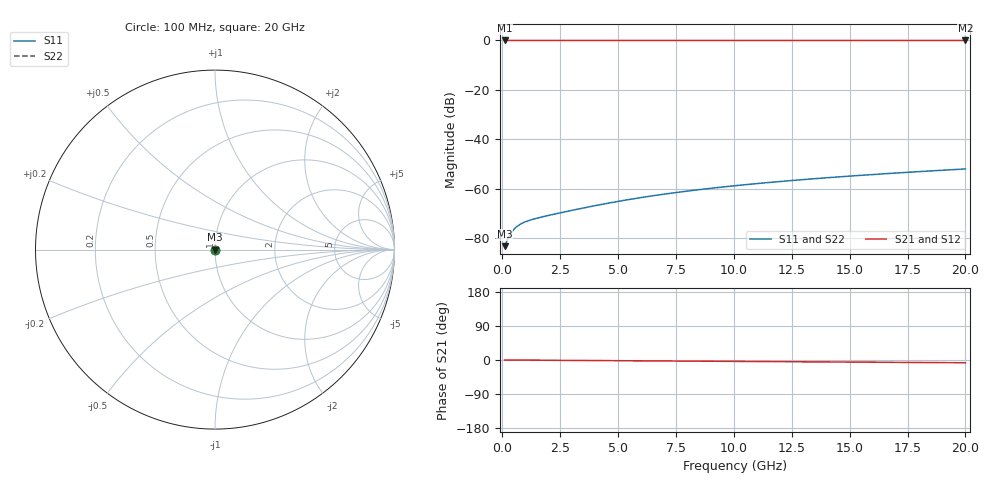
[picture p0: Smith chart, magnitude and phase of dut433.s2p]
! Touchstone file exported from HFSS 2026.1.0
!  File:  C:/ffzhzh/LocalFiles/Ansys_Project_Files/temp_train_TSV_433_1783021227_55676.aedt
!  Generated:  03:41:59 AM Jul  3, 2026
!  Design:  TSV
!  Project:  temp_train_TSV_433_1783021227_55676
! Variables:
!  h_bsmrdl = 2um
!  h_ox = 20um
!  h_rdl = 5um
!  h_sub = 69.21um
!  h_tmrdl = 5um
!  h_tsv = 69.21um
!  h_via = 3um
!  l_bsmrdl = 300um
!  l_sub = 429.56um
!  l_tmrdl = 200um
!  m_sub = 200um
!  pitch = 57.31um
!  r_tsv = 14.78um
!  s_tmrdl = 10um
!  w_bsmrdl = 18um
!  w_sub = 500um
!  w_tmrdl = 12um
!  x_tsv_center1 = 206um
!  x_tsv_center2 = 524um
!  x_tsv_center3 = 736um
!  x_tsv_center4 = 1054um
!  x_tsv_center5 = 1266um
!  x_tsv_center6 = 1584um
# GHz S MA R 50.000000
! Terminal data exported
! Port[1] = TSV1_1_T1
! Port[2] = TSV1_1_T2
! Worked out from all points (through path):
!   200 points, 100 MHz to 20 GHz, reference 50 ohm
!   highest |S21| = 0.00 dB at 100 MHz (marker M1); lowest = 0.0 dB at 20 GHz (marker M2)
!   group delay of S21, straight-line fit = 1.01 ps
!   lowest |S11| = -83.2 dB at 100 MHz (marker M3), VSWR 1.00, Z = 50 + j0.00237 ohm
!   |S11| at or under -10 dB: start of sweep to end of sweep
!   |S22| runs from -83.2 to -51.9 dB; largest |S21 - S12| = 2.1e-15
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0.1  6.942e-05 19.9  0.9999 -0.0  0.9999 -0.0  6.942e-05 19.9
! Gamma 0 0 0 0
! Port Impedance 50 0 50 0
0.2  8.868e-05 29.9  0.9999 -0.1  0.9999 -0.1  8.868e-05 29.9
0.3  0.000111 32.3  0.9999 -0.1  0.9999 -0.1  0.000111 32.3
0.4  0.0001325 31.1  0.9999 -0.2  0.9999 -0.2  0.0001325 31.1
0.5  0.0001518 28.4  0.9999 -0.2  0.9999 -0.2  0.0001518 28.4
0.6  0.0001686 25.0  0.9998 -0.2  0.9998 -0.2  0.0001686 25.1
0.7  0.0001831 21.5  0.9998 -0.3  0.9998 -0.3  0.0001831 21.5
0.8  0.0001956 18.1  0.9998 -0.3  0.9998 -0.3  0.0001956 18.1
1  0.0002164 11.6  0.9998 -0.4  0.9998 -0.4  0.0002164 11.6
1.3  0.0002413 3.3  0.9998 -0.5  0.9998 -0.5  0.0002413 3.3
1.7  0.0002698 -5.6  0.9997 -0.6  0.9997 -0.6  0.0002699 -5.6
2.5  0.0003273 -18.7  0.9997 -0.9  0.9997 -0.9  0.0003273 -18.7
3.5  0.0004104 -30.0  0.9996 -1.3  0.9996 -1.3  0.0004104 -30.0
5.1  0.0005687 -42.1  0.9996 -1.9  0.9996 -1.9  0.0005687 -42.1
5.9  0.0006564 -46.5  0.9995 -2.2  0.9995 -2.2  0.0006564 -46.5
6.8  0.0007597 -50.8  0.9995 -2.5  0.9995 -2.5  0.0007598 -50.8
8.4  0.000952 -56.8  0.9994 -3.1  0.9994 -3.1  0.0009522 -56.8
10.1  0.001165 -61.8  0.9994 -3.7  0.9994 -3.7  0.001165 -61.8
11.7  0.00137 -65.5  0.9993 -4.3  0.9993 -4.3  0.001371 -65.5
13.4  0.001595 -68.7  0.9993 -4.9  0.9993 -4.9  0.001595 -68.7
16.7  0.002047 -73.5  0.9992 -6.1  0.9992 -6.1  0.002047 -73.5
20  0.002527 -77.2  0.9991 -7.3  0.9991 -7.3  0.002527 -77.1
